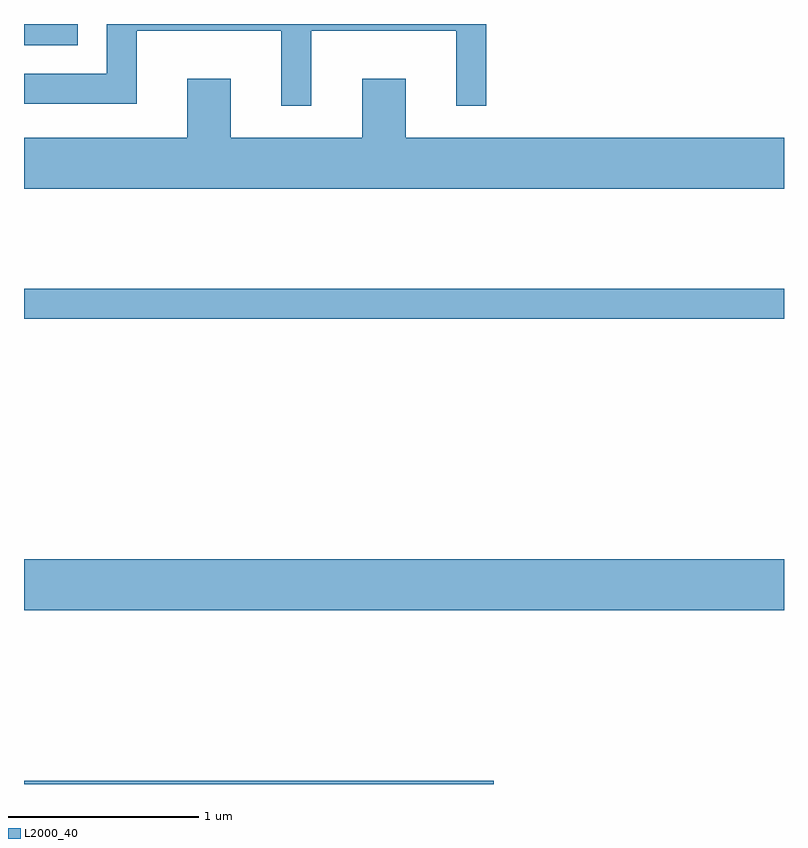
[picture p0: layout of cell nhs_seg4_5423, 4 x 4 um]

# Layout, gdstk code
import gdstk
lib = gdstk.Library(unit=1e-6, precision=1e-09)
def R(c, l, rs):  # rectangles x0, y0, x1, y1
    for r in rs: c.add(gdstk.rectangle(r[:2], r[2:], *l))
def P(c, l, *ps):  # polygons
    for p in ps: c.add(gdstk.Polygon(p, *l))
L2000_40 = (2000, 40)

nhs_seg4_5423 = lib.new_cell('nhs_seg4_5423')
R(nhs_seg4_5423, L2000_40, [(343.611,1355.982,346.084,1355.999), (343.611,1356.896,347.611,1357.164), (343.611,1358.431,347.611,1358.589), (343.611,1359.871,343.894,1359.982)])
P(nhs_seg4_5423, L2000_40, [(345.124,1359.946),(345.886,1359.946),(345.886,1359.553),(346.044,1359.553),(346.044,1359.982),(344.046,1359.982),(344.046,1359.719),(343.611,1359.719),(343.611,1359.561),(344.204,1359.561),(344.204,1359.946),(344.966,1359.946),(344.966,1359.553),(345.124,1359.553)],
  [(347.611,1359.384),(345.619,1359.384),(345.619,1359.694),(345.391,1359.694),(345.391,1359.384),(344.699,1359.384),(344.699,1359.694),(344.471,1359.694),(344.471,1359.384),(343.611,1359.384),(343.611,1359.116),(347.611,1359.116)])

lib.write_gds('nhs_seg4_5423.gds')
